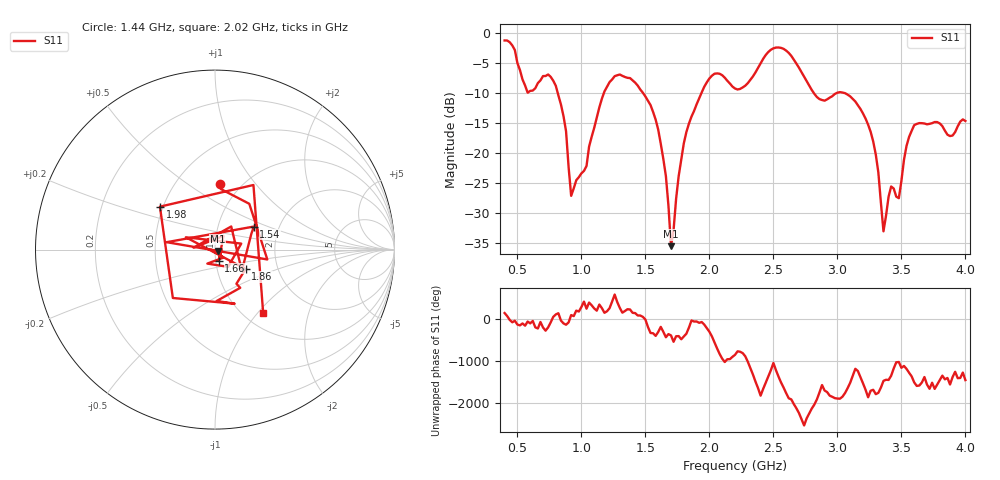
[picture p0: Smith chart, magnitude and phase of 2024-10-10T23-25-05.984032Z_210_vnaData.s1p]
! Created with skrf (http://scikit-rf.org).
# Hz S RI R 50.0
!freq ReS11 ImS11
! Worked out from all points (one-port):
!   181 points, 400 MHz to 4 GHz, reference 50 ohm
!   lowest |S11| = -35.4 dB at 1.7 GHz (marker M1), VSWR 1.03, Z = 51.5 - j0.788 ohm
!   |S11| at or under -10 dB: 815.4 MHz to 1.175 GHz (360 MHz wide, 36.2 % of centre); 1.482 GHz to 1.938 GHz (455.3 MHz wide, 26.6 % of centre); 3.058 GHz to end of sweep (the widest 3 of 4)
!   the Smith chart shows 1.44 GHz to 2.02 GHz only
!   S11 on the Smith chart (normalised r, x): 1.44 GHz: 0.80, +0.67; 1.54 GHz: 1.49, +0.41; 1.66 GHz: 1.04, -0.13; 1.86 GHz: 1.37, -0.31; 1.98 GHz: 0.48, +0.27; 2.02 GHz: 1.22, -1.07
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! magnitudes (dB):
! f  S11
! 400 MHz  -1.2
! 580 MHz  -9.9
! 760 MHz  -7.3
! 860 MHz  -13.8
! 920 MHz  -27.1
! 1.04 GHz  -22.1
! 1.18 GHz  -9.7
! 1.3 GHz  -6.9
! 1.44 GHz  -8.7
! 1.54 GHz  -12.0
! 1.66 GHz  -23.8
! 1.7 GHz  -35.4
! 1.76 GHz  -23.8
! 1.86 GHz  -13.9
! 1.98 GHz  -8.2
! 2.02 GHz  -7.1
! 2.2 GHz  -9.2
! 2.5 GHz  -2.6
! 2.66 GHz  -4.4
! 2.86 GHz  -11.0
! 3.1 GHz  -10.5
! 3.28 GHz  -18.1
! 3.32 GHz  -23.2
! 3.36 GHz  -33.0
! 3.42 GHz  -25.5
! 3.48 GHz  -27.5
! 3.56 GHz  -17.3
! 4 GHz  -14.6
